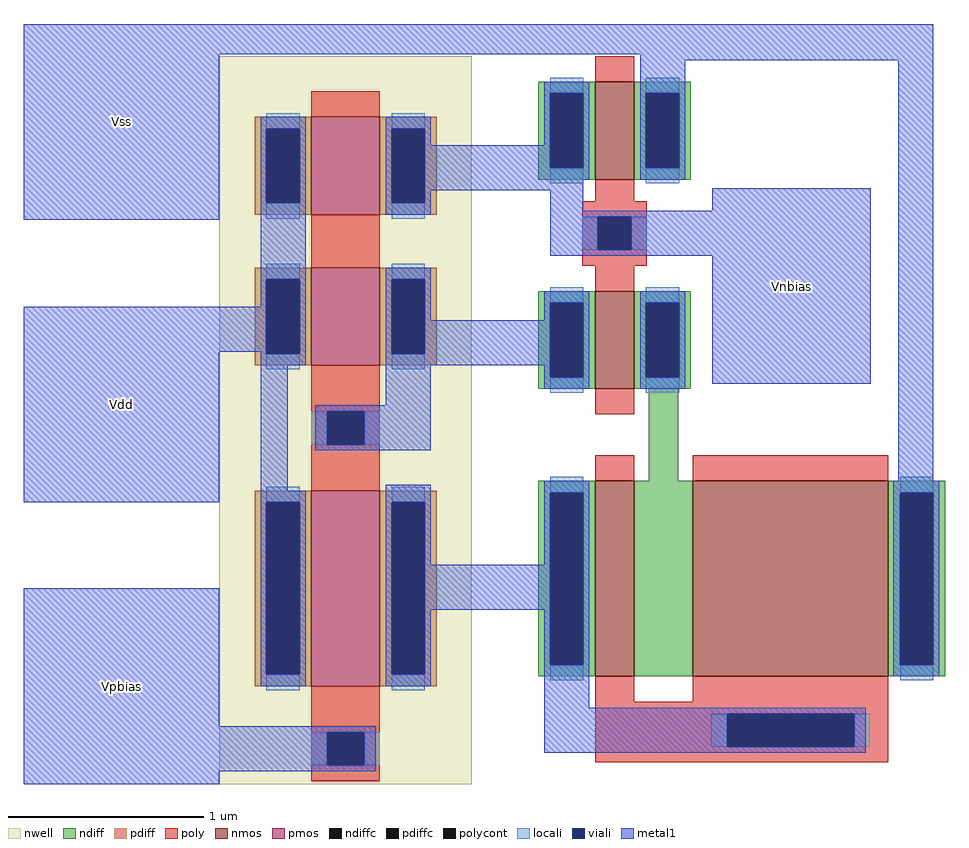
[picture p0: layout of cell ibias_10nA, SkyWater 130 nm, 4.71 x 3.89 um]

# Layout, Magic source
magic
tech sky130A
magscale 1 2
<< nwell >>
rect 108 -1634 366 -890
<< nmos >>
rect 492 -1016 532 -916
rect 492 -1230 532 -1130
rect 492 -1524 532 -1324
rect 592 -1524 792 -1324
<< pmos >>
rect 202 -1052 272 -952
rect 202 -1206 272 -1106
rect 202 -1534 272 -1334
<< ndiff >>
rect 434 -928 492 -916
rect 434 -1004 446 -928
rect 480 -1004 492 -928
rect 434 -1016 492 -1004
rect 532 -928 590 -916
rect 532 -1004 544 -928
rect 578 -1004 590 -928
rect 532 -1016 590 -1004
rect 434 -1142 492 -1130
rect 434 -1218 446 -1142
rect 480 -1218 492 -1142
rect 434 -1230 492 -1218
rect 532 -1142 590 -1130
rect 532 -1218 544 -1142
rect 578 -1218 590 -1142
rect 532 -1230 590 -1218
rect 547 -1324 577 -1230
rect 434 -1336 492 -1324
rect 434 -1512 446 -1336
rect 480 -1512 492 -1336
rect 434 -1524 492 -1512
rect 532 -1524 592 -1324
rect 792 -1336 850 -1324
rect 792 -1512 804 -1336
rect 838 -1512 850 -1336
rect 792 -1524 850 -1512
<< pdiff >>
rect 144 -964 202 -952
rect 144 -1040 156 -964
rect 190 -1040 202 -964
rect 144 -1052 202 -1040
rect 272 -964 330 -952
rect 272 -1040 284 -964
rect 318 -1040 330 -964
rect 272 -1052 330 -1040
rect 144 -1118 202 -1106
rect 144 -1194 156 -1118
rect 190 -1194 202 -1118
rect 144 -1206 202 -1194
rect 272 -1118 330 -1106
rect 272 -1194 284 -1118
rect 318 -1194 330 -1118
rect 272 -1206 330 -1194
rect 144 -1346 202 -1334
rect 144 -1522 156 -1346
rect 190 -1522 202 -1346
rect 144 -1534 202 -1522
rect 272 -1346 330 -1334
rect 272 -1522 284 -1346
rect 318 -1522 330 -1346
rect 272 -1534 330 -1522
<< ndiffc >>
rect 446 -1004 480 -928
rect 544 -1004 578 -928
rect 446 -1218 480 -1142
rect 544 -1218 578 -1142
rect 446 -1512 480 -1336
rect 804 -1512 838 -1336
<< pdiffc >>
rect 156 -1040 190 -964
rect 284 -1040 318 -964
rect 156 -1194 190 -1118
rect 284 -1194 318 -1118
rect 156 -1522 190 -1346
rect 284 -1522 318 -1346
<< poly >>
rect 492 -916 532 -890
rect 202 -952 272 -926
rect 492 -1038 532 -1016
rect 202 -1106 272 -1052
rect 479 -1054 545 -1038
rect 479 -1088 495 -1054
rect 529 -1088 545 -1054
rect 479 -1104 545 -1088
rect 492 -1130 532 -1104
rect 202 -1253 272 -1206
rect 202 -1287 218 -1253
rect 256 -1287 272 -1253
rect 492 -1256 532 -1230
rect 202 -1334 272 -1287
rect 492 -1324 532 -1298
rect 592 -1324 792 -1298
rect 202 -1581 272 -1534
rect 202 -1615 218 -1581
rect 256 -1615 272 -1581
rect 492 -1550 532 -1524
rect 592 -1550 792 -1524
rect 492 -1562 792 -1550
rect 492 -1596 627 -1562
rect 757 -1596 792 -1562
rect 492 -1612 792 -1596
rect 202 -1631 272 -1615
<< polycont >>
rect 495 -1088 529 -1054
rect 218 -1287 256 -1253
rect 218 -1615 256 -1581
rect 627 -1596 757 -1562
<< locali >>
rect 446 -928 480 -912
rect 156 -964 190 -948
rect 156 -1056 190 -1040
rect 284 -964 318 -948
rect 446 -1020 480 -1004
rect 544 -928 578 -912
rect 544 -1020 578 -1004
rect 284 -1056 318 -1040
rect 479 -1088 495 -1054
rect 529 -1088 545 -1054
rect 156 -1118 190 -1102
rect 156 -1210 190 -1194
rect 284 -1118 318 -1102
rect 284 -1210 318 -1194
rect 446 -1142 480 -1126
rect 446 -1234 480 -1218
rect 544 -1142 578 -1126
rect 544 -1234 578 -1218
rect 202 -1287 218 -1253
rect 256 -1287 272 -1253
rect 156 -1346 190 -1330
rect 156 -1538 190 -1522
rect 284 -1346 318 -1330
rect 284 -1538 318 -1522
rect 446 -1336 480 -1320
rect 446 -1528 480 -1512
rect 804 -1336 838 -1320
rect 804 -1528 838 -1512
rect 202 -1615 218 -1581
rect 256 -1615 272 -1581
rect 611 -1596 627 -1562
rect 757 -1596 773 -1562
<< viali >>
rect 156 -1040 190 -964
rect 284 -1040 318 -964
rect 446 -1004 480 -928
rect 544 -1004 578 -928
rect 495 -1088 529 -1054
rect 156 -1194 190 -1118
rect 284 -1194 318 -1118
rect 446 -1218 480 -1142
rect 544 -1218 578 -1142
rect 218 -1287 256 -1253
rect 156 -1522 190 -1346
rect 284 -1522 318 -1346
rect 446 -1512 480 -1336
rect 804 -1512 838 -1336
rect 218 -1615 256 -1581
rect 627 -1596 757 -1562
<< metal1 >>
rect -92 -888 838 -857
rect -92 -1057 108 -888
rect 538 -894 838 -888
rect 440 -928 486 -916
rect 150 -964 196 -952
rect 150 -1040 156 -964
rect 190 -1040 196 -964
rect 150 -1118 196 -1040
rect 278 -964 324 -952
rect 278 -1040 284 -964
rect 318 -981 324 -964
rect 440 -981 446 -928
rect 318 -1004 446 -981
rect 480 -1004 486 -928
rect 318 -1016 486 -1004
rect 538 -928 584 -894
rect 538 -1004 544 -928
rect 578 -1004 584 -928
rect 538 -1016 584 -1004
rect 318 -1027 480 -1016
rect 318 -1040 324 -1027
rect 278 -1052 324 -1040
rect 446 -1048 480 -1027
rect 612 -1048 774 -1025
rect 446 -1054 774 -1048
rect 446 -1088 495 -1054
rect 529 -1088 774 -1054
rect 446 -1094 774 -1088
rect 150 -1146 156 -1118
rect -92 -1192 156 -1146
rect -92 -1346 108 -1192
rect 150 -1194 156 -1192
rect 190 -1194 196 -1118
rect 150 -1206 196 -1194
rect 278 -1118 324 -1106
rect 278 -1194 284 -1118
rect 318 -1160 324 -1118
rect 440 -1142 486 -1130
rect 440 -1160 446 -1142
rect 318 -1194 446 -1160
rect 278 -1206 446 -1194
rect 150 -1334 178 -1206
rect 278 -1247 324 -1206
rect 440 -1218 446 -1206
rect 480 -1218 486 -1142
rect 440 -1230 486 -1218
rect 538 -1142 584 -1130
rect 538 -1218 544 -1142
rect 578 -1218 584 -1142
rect 538 -1230 584 -1218
rect 612 -1225 774 -1094
rect 206 -1253 324 -1247
rect 206 -1287 218 -1253
rect 256 -1287 324 -1253
rect 206 -1293 324 -1287
rect 802 -1324 838 -894
rect 150 -1346 196 -1334
rect -92 -1575 108 -1434
rect 150 -1522 156 -1346
rect 190 -1522 196 -1346
rect 150 -1534 196 -1522
rect 278 -1346 324 -1328
rect 278 -1522 284 -1346
rect 318 -1410 324 -1346
rect 440 -1336 486 -1324
rect 440 -1410 446 -1336
rect 318 -1456 446 -1410
rect 318 -1522 324 -1456
rect 278 -1534 324 -1522
rect 440 -1512 446 -1456
rect 480 -1512 486 -1336
rect 440 -1556 486 -1512
rect 797 -1336 844 -1324
rect 797 -1512 804 -1336
rect 838 -1512 844 -1336
rect 797 -1524 844 -1512
rect 440 -1562 769 -1556
rect -92 -1581 268 -1575
rect -92 -1615 218 -1581
rect 256 -1615 268 -1581
rect 440 -1596 627 -1562
rect 757 -1596 769 -1562
rect 440 -1602 769 -1596
rect -92 -1621 268 -1615
rect -92 -1634 108 -1621
<< labels >>
flabel metal1 612 -1225 774 -1025 0 FreeSans 256 0 0 0 Vnbias
port 2 nsew
flabel metal1 -92 -1057 108 -857 0 FreeSans 256 0 0 0 Vss
port 1 nsew
flabel metal1 -92 -1634 108 -1434 0 FreeSans 256 0 0 0 Vpbias
port 3 nsew
flabel metal1 -92 -1346 108 -1146 0 FreeSans 256 0 0 0 Vdd
port 0 nsew
<< end >>
